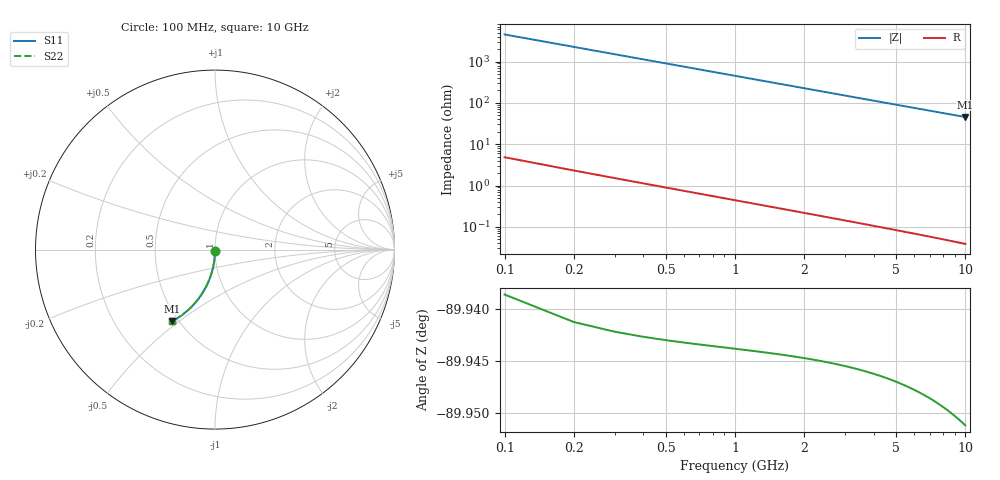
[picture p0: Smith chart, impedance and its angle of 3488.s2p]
# Hz S RI R 50.00
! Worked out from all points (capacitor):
!   100 points, 100 MHz to 10 GHz, reference 50 ohm
!   read as one part in shunt: C = 353 fF near 100 MHz
!   lowest |Z| = 45.4 ohm at 10 GHz (marker M1)
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1e8  0.00024 -0.00528  0.9997 -0.00581  0.9997 -0.00581  0.00024 -0.00528
2e8  0.000144 -0.0105  0.9996 -0.0116  0.9996 -0.0116  0.000144 -0.0105
3e8  -1.32e-05 -0.0158  0.9994 -0.0174  0.9994 -0.0174  -1.32e-05 -0.0158
4e8  -0.000232 -0.0211  0.9992 -0.0232  0.9992 -0.0232  -0.000232 -0.0211
5e8  -0.000512 -0.0264  0.9989 -0.029  0.9989 -0.029  -0.000512 -0.0264
6e8  -0.000853 -0.0316  0.9986 -0.0348  0.9986 -0.0348  -0.000853 -0.0316
7e8  -0.00126 -0.0369  0.9982 -0.0406  0.9982 -0.0406  -0.00126 -0.0369
8e8  -0.00172 -0.0421  0.9977 -0.0464  0.9977 -0.0464  -0.00172 -0.0421
9e8  -0.00224 -0.0474  0.9972 -0.0522  0.9972 -0.0522  -0.00224 -0.0474
1.1e9  -0.00347 -0.0578  0.9959 -0.0637  0.9959 -0.0637  -0.00347 -0.0578
1.4e9  -0.00577 -0.0734  0.9936 -0.0809  0.9936 -0.0809  -0.00577 -0.0734
1.8e9  -0.00965 -0.094  0.9897 -0.1037  0.9897 -0.1037  -0.00965 -0.094
2.1e9  -0.0132 -0.1093  0.9862 -0.1206  0.9862 -0.1206  -0.0132 -0.1093
2.5e9  -0.0187 -0.1293  0.9807 -0.1428  0.9807 -0.1428  -0.0187 -0.1293
2.9e9  -0.025 -0.149  0.9743 -0.1646  0.9743 -0.1646  -0.025 -0.149
3.4e9  -0.0342 -0.173  0.9651 -0.1913  0.9651 -0.1913  -0.0342 -0.173
4.2e9  -0.0514 -0.2098  0.9478 -0.2324  0.9478 -0.2324  -0.0514 -0.2098
5.1e9  -0.0741 -0.2485  0.9249 -0.2759  0.9249 -0.2759  -0.0741 -0.2485
5.9e9  -0.0969 -0.2801  0.902 -0.3119  0.902 -0.3119  -0.0969 -0.2801
6.7e9  -0.1217 -0.309  0.8771 -0.3452  0.8771 -0.3452  -0.1217 -0.309
8.4e9  -0.1793 -0.3611  0.819 -0.4065  0.819 -0.4065  -0.1793 -0.3611
1e10  -0.237 -0.3983  0.7608 -0.4525  0.7608 -0.4525  -0.237 -0.3983
